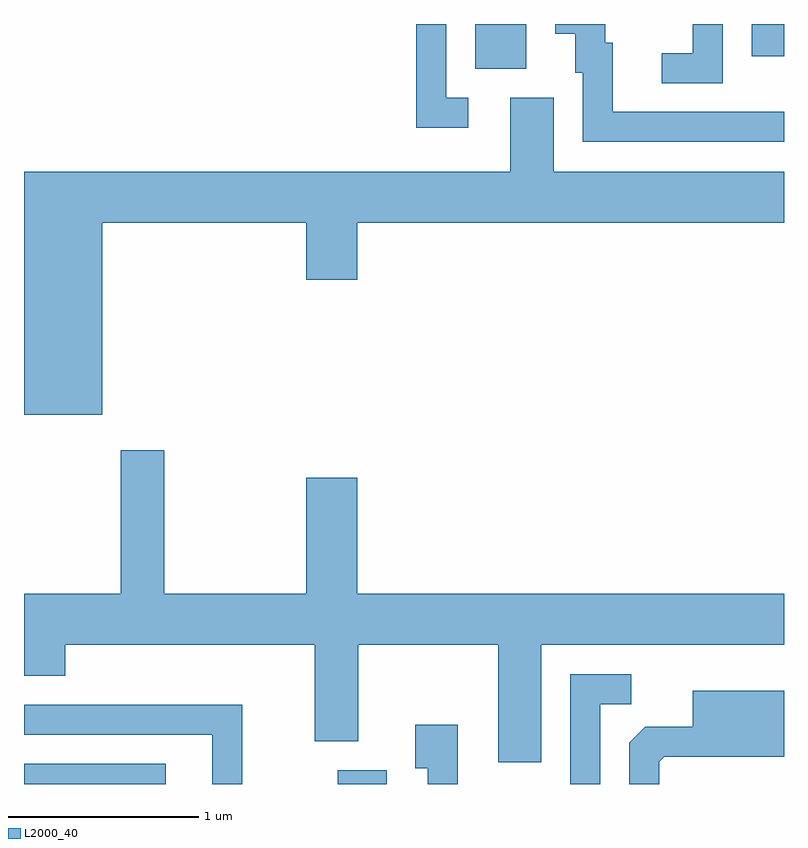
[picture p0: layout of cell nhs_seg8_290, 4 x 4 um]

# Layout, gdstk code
import gdstk
lib = gdstk.Library(unit=1e-6, precision=1e-09)
def R(c, l, rs):  # rectangles x0, y0, x1, y1
    for r in rs: c.add(gdstk.rectangle(r[:2], r[2:], *l))
def P(c, l, *ps):  # polygons
    for p in ps: c.add(gdstk.Polygon(p, *l))
L2000_40 = (2000, 40)

nhs_seg8_290 = lib.new_cell('nhs_seg8_290')
R(nhs_seg8_290, L2000_40, [(193.611,1842.342,194.358,1842.449), (195.261,1842.342,195.519,1842.414), (195.986,1846.106,196.254,1846.342), (197.441,1846.171,197.611,1846.342)])
P(nhs_seg8_290, L2000_40, [(195.948,1845.954),(195.834,1845.954),(195.834,1846.342),(195.676,1846.342),(195.676,1845.796),(195.948,1845.796)],
  [(197.611,1845.879),(196.709,1845.879),(196.709,1846.244),(196.669,1846.244),(196.669,1846.342),(196.406,1846.342),(196.406,1846.291),(196.511,1846.291),(196.511,1846.086),(196.551,1846.086),(196.551,1845.721),(197.611,1845.721)],
  [(197.289,1846.342),(197.131,1846.342),(197.131,1846.189),(196.968,1846.189),(196.968,1846.031),(197.289,1846.031)],
  [(194.024,1845.296),(195.096,1845.296),(195.096,1844.996),(195.364,1844.996),(195.364,1845.296),(197.611,1845.296),(197.611,1845.564),(196.399,1845.564),(196.399,1845.954),(196.171,1845.954),(196.171,1845.564),(193.611,1845.564),(193.611,1844.286),(194.024,1844.286)],
  [(196.334,1843.076),(197.611,1843.076),(197.611,1843.344),(195.364,1843.344),(195.364,1843.954),(195.096,1843.954),(195.096,1843.344),(194.349,1843.344),(194.349,1844.099),(194.121,1844.099),(194.121,1843.344),(193.611,1843.344),(193.611,1842.911),(193.829,1842.911),(193.829,1843.076),(195.141,1843.076),(195.141,1842.566),(195.369,1842.566),(195.369,1843.076),(196.106,1843.076),(196.106,1842.456),(196.334,1842.456)],
  [(196.644,1842.761),(196.808,1842.761),(196.808,1842.919),(196.486,1842.919),(196.486,1842.342),(196.644,1842.342)],
  [(196.954,1842.459),(196.982,1842.486),(197.611,1842.486),(197.611,1842.834),(197.131,1842.834),(197.131,1842.644),(196.882,1842.644),(196.796,1842.559),(196.796,1842.342),(196.954,1842.342)],
  [(194.759,1842.759),(193.611,1842.759),(193.611,1842.601),(194.601,1842.601),(194.601,1842.342),(194.759,1842.342)],
  [(195.894,1842.654),(195.671,1842.654),(195.671,1842.426),(195.736,1842.426),(195.736,1842.342),(195.894,1842.342)])

lib.write_gds('nhs_seg8_290.gds')
